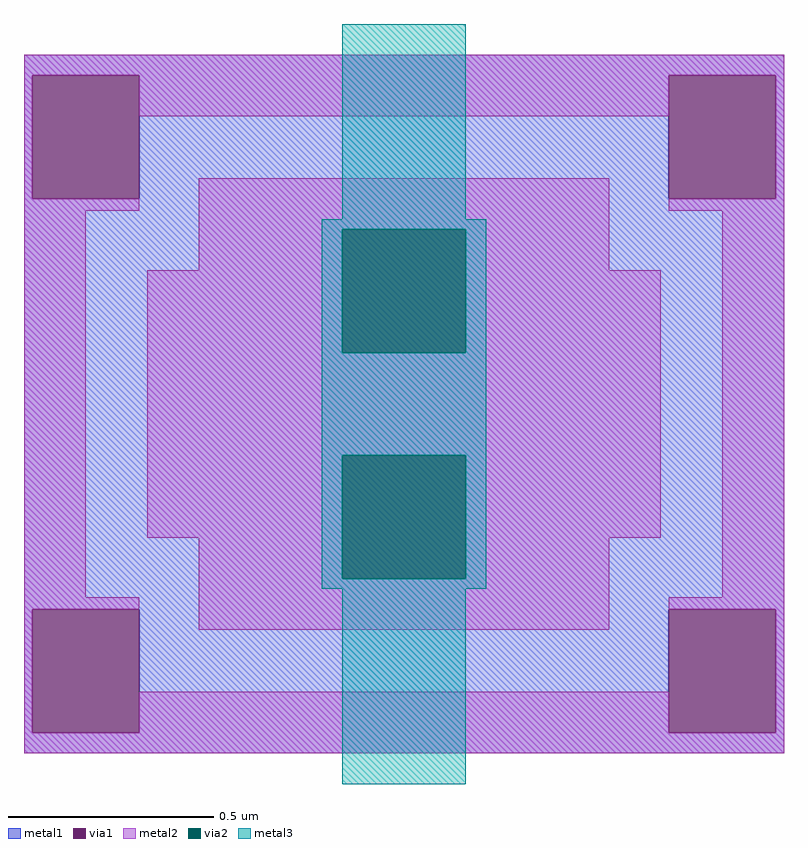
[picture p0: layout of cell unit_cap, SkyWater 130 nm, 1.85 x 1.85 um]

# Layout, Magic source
magic
tech sky130A
magscale 1 2
<< metal1 >>
rect 1255 1785 1625 1795
rect 1255 1725 1259 1785
rect 1311 1725 1569 1785
rect 1621 1725 1625 1785
rect 1255 1525 1625 1725
rect 1255 1465 1259 1525
rect 1311 1465 1569 1525
rect 1621 1465 1625 1525
rect 1255 1455 1625 1465
<< via1 >>
rect 1259 1725 1311 1785
rect 1569 1725 1621 1785
rect 1259 1465 1311 1525
rect 1569 1465 1621 1525
<< metal2 >>
rect 1255 1785 1625 1795
rect 1255 1725 1259 1785
rect 1311 1765 1569 1785
rect 1255 1719 1311 1725
rect 1255 1531 1285 1719
rect 1340 1710 1540 1735
rect 1621 1725 1625 1785
rect 1569 1719 1625 1725
rect 1340 1690 1410 1710
rect 1315 1650 1410 1690
rect 1470 1690 1540 1710
rect 1470 1650 1565 1690
rect 1315 1600 1565 1650
rect 1315 1560 1410 1600
rect 1340 1540 1410 1560
rect 1470 1560 1565 1600
rect 1470 1540 1540 1560
rect 1255 1525 1311 1531
rect 1255 1465 1259 1525
rect 1340 1515 1540 1540
rect 1595 1531 1625 1719
rect 1569 1525 1625 1531
rect 1311 1465 1569 1485
rect 1621 1465 1625 1525
rect 1255 1455 1625 1465
<< via2 >>
rect 1410 1650 1470 1710
rect 1410 1540 1470 1600
<< metal3 >>
rect 1410 1715 1470 1810
rect 1400 1710 1480 1715
rect 1400 1650 1410 1710
rect 1470 1650 1480 1710
rect 1400 1600 1480 1650
rect 1400 1540 1410 1600
rect 1470 1540 1480 1600
rect 1400 1535 1480 1540
rect 1410 1440 1470 1535
<< end >>
